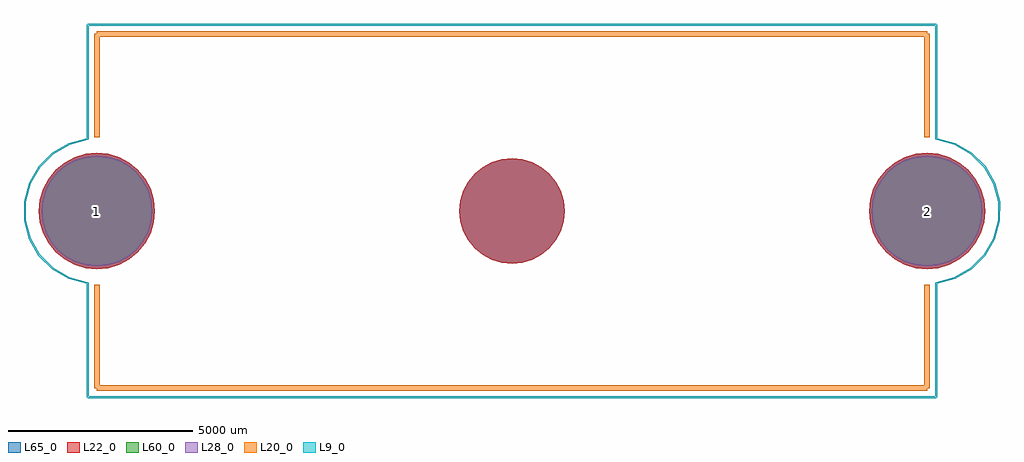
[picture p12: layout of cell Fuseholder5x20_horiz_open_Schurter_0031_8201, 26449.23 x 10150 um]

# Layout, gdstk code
import gdstk
lib = gdstk.Library(unit=1e-6, precision=1e-09)
def P(c, l, *ps):  # polygons
    for p in ps: c.add(gdstk.Polygon(p, *l))
L9_0 = (9, 0)
L20_0 = (20, 0)
L22_0 = (22, 0)
L28_0 = (28, 0)
L60_0 = (60, 0)
L65_0 = (65, 0)

fuseholder5x20_horiz_ope = lib.new_cell('Fuseholder5x20_horiz_open_Schurter_0031_8201')
P(fuseholder5x20_horiz_ope, L22_0, [(12675,0),(12647.619,278.004),(12566.528,545.324),(12434.844,791.688),(12257.627,1007.627),(12041.688,1184.844),(11795.324,1316.528),(11528.004,1397.619),(11250,1425),(10971.996,1397.619),(10704.676,1316.528),(10458.312,1184.844),(10242.373,1007.627),(10065.156,791.688),(9933.472,545.324),(9852.381,278.004),(9825,0),(9852.381,-278.004),(9933.472,-545.324),(10065.156,-791.688),(10242.373,-1007.627),(10458.312,-1184.844),(10704.676,-1316.528),(10971.996,-1397.619),(11250,-1425),(11528.004,-1397.619),(11795.324,-1316.528),(12041.688,-1184.844),(12257.627,-1007.627),(12434.844,-791.688),(12566.528,-545.324),(12647.619,-278.004)],
  [(24075,0),(24044.737,307.267),(23955.11,602.726),(23809.565,875.023),(23613.693,1113.693),(23375.023,1309.565),(23102.726,1455.11),(22807.267,1544.737),(22500,1575),(22192.733,1544.737),(21897.274,1455.11),(21624.977,1309.565),(21386.307,1113.693),(21190.435,875.023),(21044.89,602.726),(20955.263,307.267),(20925,0),(20955.263,-307.267),(21044.89,-602.726),(21190.435,-875.023),(21386.307,-1113.693),(21624.977,-1309.565),(21897.274,-1455.11),(22192.733,-1544.737),(22500,-1575),(22807.267,-1544.737),(23102.726,-1455.11),(23375.023,-1309.565),(23613.693,-1113.693),(23809.565,-875.023),(23955.11,-602.726),(24044.737,-307.267)],
  [(1575,0),(1544.737,307.267),(1455.11,602.726),(1309.565,875.023),(1113.693,1113.693),(875.023,1309.565),(602.726,1455.11),(307.267,1544.737),(0,1575),(-307.267,1544.737),(-602.726,1455.11),(-875.023,1309.565),(-1113.693,1113.693),(-1309.565,875.023),(-1455.11,602.726),(-1544.737,307.267),(-1575,0),(-1544.737,-307.267),(-1455.11,-602.726),(-1309.565,-875.023),(-1113.693,-1113.693),(-875.023,-1309.565),(-602.726,-1455.11),(-307.267,-1544.737),(0,-1575),(307.267,-1544.737),(602.726,-1455.11),(875.023,-1309.565),(1113.693,-1113.693),(1309.565,-875.023),(1455.11,-602.726),(1544.737,-307.267)])
P(fuseholder5x20_horiz_ope, L28_0, [(24000,0),(23971.178,292.635),(23885.819,574.025),(23747.204,833.355),(23560.66,1060.66),(23333.355,1247.204),(23074.025,1385.819),(22792.635,1471.178),(22500,1500),(22207.365,1471.178),(21925.975,1385.819),(21666.645,1247.204),(21439.34,1060.66),(21252.796,833.355),(21114.181,574.025),(21028.822,292.635),(21000,0),(21028.822,-292.635),(21114.181,-574.025),(21252.796,-833.355),(21439.34,-1060.66),(21666.645,-1247.204),(21925.975,-1385.819),(22207.365,-1471.178),(22500,-1500),(22792.635,-1471.178),(23074.025,-1385.819),(23333.355,-1247.204),(23560.66,-1060.66),(23747.204,-833.355),(23885.819,-574.025),(23971.178,-292.635)],
  [(1500,0),(1471.178,292.635),(1385.819,574.025),(1247.204,833.355),(1060.66,1060.66),(833.355,1247.204),(574.025,1385.819),(292.635,1471.178),(0,1500),(-292.635,1471.178),(-574.025,1385.819),(-833.355,1247.204),(-1060.66,1060.66),(-1247.204,833.355),(-1385.819,574.025),(-1471.178,292.635),(-1500,0),(-1471.178,-292.635),(-1385.819,-574.025),(-1247.204,-833.355),(-1060.66,-1060.66),(-833.355,-1247.204),(-574.025,-1385.819),(-292.635,-1471.178),(0,-1500),(292.635,-1471.178),(574.025,-1385.819),(833.355,-1247.204),(1060.66,-1060.66),(1247.204,-833.355),(1385.819,-574.025),(1471.178,-292.635)])
P(fuseholder5x20_horiz_ope, L60_0, [(24000,0),(23971.178,292.635),(23885.819,574.025),(23747.204,833.355),(23560.66,1060.66),(23333.355,1247.204),(23074.025,1385.819),(22792.635,1471.178),(22500,1500),(22207.365,1471.178),(21925.975,1385.819),(21666.645,1247.204),(21439.34,1060.66),(21252.796,833.355),(21114.181,574.025),(21028.822,292.635),(21000,0),(21028.822,-292.635),(21114.181,-574.025),(21252.796,-833.355),(21439.34,-1060.66),(21666.645,-1247.204),(21925.975,-1385.819),(22207.365,-1471.178),(22500,-1500),(22792.635,-1471.178),(23074.025,-1385.819),(23333.355,-1247.204),(23560.66,-1060.66),(23747.204,-833.355),(23885.819,-574.025),(23971.178,-292.635)],
  [(1500,0),(1471.178,292.635),(1385.819,574.025),(1247.204,833.355),(1060.66,1060.66),(833.355,1247.204),(574.025,1385.819),(292.635,1471.178),(0,1500),(-292.635,1471.178),(-574.025,1385.819),(-833.355,1247.204),(-1060.66,1060.66),(-1247.204,833.355),(-1385.819,574.025),(-1471.178,292.635),(-1500,0),(-1471.178,-292.635),(-1385.819,-574.025),(-1247.204,-833.355),(-1060.66,-1060.66),(-833.355,-1247.204),(-574.025,-1385.819),(-292.635,-1471.178),(0,-1500),(292.635,-1471.178),(574.025,-1385.819),(833.355,-1247.204),(1060.66,-1060.66),(1247.204,-833.355),(1385.819,-574.025),(1471.178,-292.635)])
P(fuseholder5x20_horiz_ope, L65_0, [(12675,0),(12647.619,278.004),(12566.528,545.324),(12434.844,791.688),(12257.627,1007.627),(12041.688,1184.844),(11795.324,1316.528),(11528.004,1397.619),(11250,1425),(10971.996,1397.619),(10704.676,1316.528),(10458.312,1184.844),(10242.373,1007.627),(10065.156,791.688),(9933.472,545.324),(9852.381,278.004),(9825,0),(9852.381,-278.004),(9933.472,-545.324),(10065.156,-791.688),(10242.373,-1007.627),(10458.312,-1184.844),(10704.676,-1316.528),(10971.996,-1397.619),(11250,-1425),(11528.004,-1397.619),(11795.324,-1316.528),(12041.688,-1184.844),(12257.627,-1007.627),(12434.844,-791.688),(12566.528,-545.324),(12647.619,-278.004)],
  [(24075,0),(24044.737,307.267),(23955.11,602.726),(23809.565,875.023),(23613.693,1113.693),(23375.023,1309.565),(23102.726,1455.11),(22807.267,1544.737),(22500,1575),(22192.733,1544.737),(21897.274,1455.11),(21624.977,1309.565),(21386.307,1113.693),(21190.435,875.023),(21044.89,602.726),(20955.263,307.267),(20925,0),(20955.263,-307.267),(21044.89,-602.726),(21190.435,-875.023),(21386.307,-1113.693),(21624.977,-1309.565),(21897.274,-1455.11),(22192.733,-1544.737),(22500,-1575),(22807.267,-1544.737),(23102.726,-1455.11),(23375.023,-1309.565),(23613.693,-1113.693),(23809.565,-875.023),(23955.11,-602.726),(24044.737,-307.267)],
  [(1575,0),(1544.737,307.267),(1455.11,602.726),(1309.565,875.023),(1113.693,1113.693),(875.023,1309.565),(602.726,1455.11),(307.267,1544.737),(0,1575),(-307.267,1544.737),(-602.726,1455.11),(-875.023,1309.565),(-1113.693,1113.693),(-1309.565,875.023),(-1455.11,602.726),(-1544.737,307.267),(-1575,0),(-1544.737,-307.267),(-1455.11,-602.726),(-1309.565,-875.023),(-1113.693,-1113.693),(-875.023,-1309.565),(-602.726,-1455.11),(-307.267,-1544.737),(0,-1575),(307.267,-1544.737),(602.726,-1455.11),(875.023,-1309.565),(1113.693,-1113.693),(1309.565,-875.023),(1455.11,-602.726),(1544.737,-307.267)])
fuseholder5x20_horiz_ope.add(gdstk.FlexPath([(0,-4800),(0,-2000)], 149.998, ends="flush", simple_path=True, layer=20, datatype=0))  # L20_0
fuseholder5x20_horiz_ope.add(gdstk.FlexPath([(22750,-1950),(22750,-5050)], 50, ends="flush", simple_path=True, layer=9, datatype=0))  # L9_0
fuseholder5x20_horiz_ope.add(gdstk.FlexPath([(22750,1950),(22750,5050)], 50, ends="flush", simple_path=True, layer=9, datatype=0))  # L9_0
fuseholder5x20_horiz_ope.add(gdstk.FlexPath([(-250,1950),(-250,5050)], 50, ends="flush", simple_path=True, layer=9, datatype=0))  # L9_0
fuseholder5x20_horiz_ope.add(gdstk.FlexPath([(0,-4800),(22500,-4800)], 149.998, ends="flush", simple_path=True, layer=20, datatype=0))  # L20_0
fuseholder5x20_horiz_ope.add(gdstk.FlexPath([(-250,5050),(22750,5050)], 50, ends="flush", simple_path=True, layer=9, datatype=0))  # L9_0
fuseholder5x20_horiz_ope.add(gdstk.FlexPath([(22750,-5050),(-250,-5050)], 50, ends="flush", simple_path=True, layer=9, datatype=0))  # L9_0
fuseholder5x20_horiz_ope.add(gdstk.FlexPath([(0,4800),(22500,4800)], 149.998, ends="flush", simple_path=True, layer=20, datatype=0))  # L20_0
fuseholder5x20_horiz_ope.add(gdstk.FlexPath([(0,2000),(0,4800)], 149.998, ends="flush", simple_path=True, layer=20, datatype=0))  # L20_0
fuseholder5x20_horiz_ope.add(gdstk.FlexPath([(22500,2000),(22500,4800)], 149.998, ends="flush", simple_path=True, layer=20, datatype=0))  # L20_0
fuseholder5x20_horiz_ope.add(gdstk.FlexPath([(22500,-4800),(22500,-2000)], 149.998, ends="flush", simple_path=True, layer=20, datatype=0))  # L20_0
fuseholder5x20_horiz_ope.add(gdstk.FlexPath([(-250,-5050),(-250,-1950)], 50, ends="flush", simple_path=True, layer=9, datatype=0))  # L9_0
fuseholder5x20_horiz_ope.add(gdstk.FlexPath([(-253.011,1949.611),(-748.986,1817.696),(-1193.92,1561.907),(-1557.489,1199.677),(-1814.918,755.692),(-1948.664,260.207),(-1949.611,-253.011),(-1817.696,-748.986),(-1561.908,-1193.92),(-1199.678,-1557.489),(-755.692,-1814.919),(-260.207,-1948.664),(-250,-1950)], 50, ends="flush", simple_path=True, layer=9, datatype=0))  # L9_0
fuseholder5x20_horiz_ope.add(gdstk.FlexPath([(22753.011,-1949.611),(23248.986,-1817.696),(23693.92,-1561.907),(24057.489,-1199.677),(24314.918,-755.692),(24448.664,-260.207),(24449.611,253.011),(24317.696,748.986),(24061.908,1193.92),(23699.678,1557.489),(23255.692,1814.919),(22760.207,1948.664),(22750,1950)], 50, ends="flush", simple_path=True, layer=9, datatype=0))  # L9_0
fuseholder5x20_horiz_ope.add(gdstk.Label('2', (22500,0), layer=28, texttype=0))
fuseholder5x20_horiz_ope.add(gdstk.Label('1', (0,0), layer=28, texttype=0))
fuseholder5x20_horiz_ope.add(gdstk.Label('type', (11250,-6000), layer=9, texttype=0))
fuseholder5x20_horiz_ope.add(gdstk.Label('devicename', (11250,6000), layer=9, texttype=0))

lib.write_gds('Fuseholder5x20_horiz_open_Schurter_0031_8201.gds')
